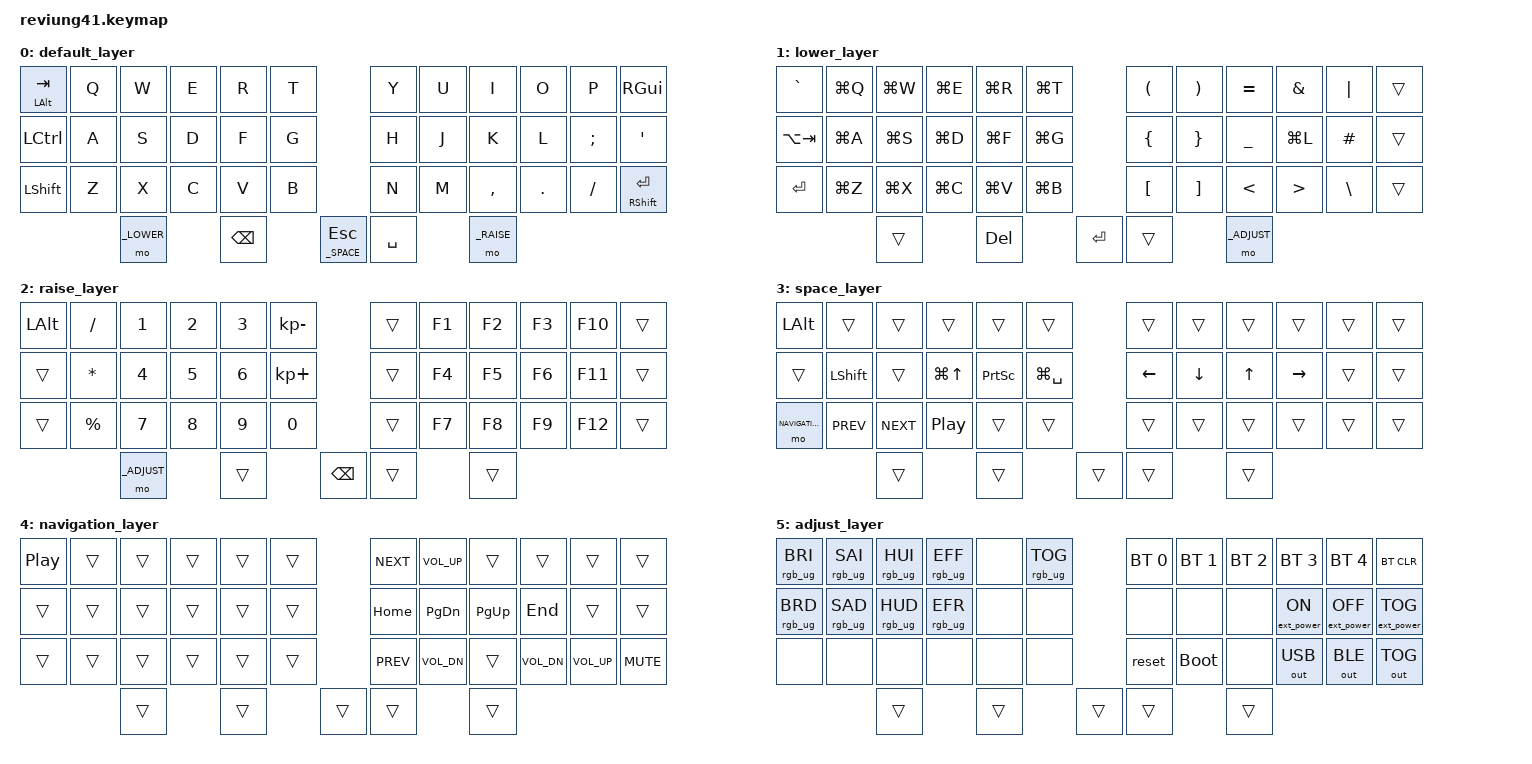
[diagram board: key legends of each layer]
// !!!!!!   Turkish Q Layout  !!!!!!

#include <behaviors.dtsi>
#include <dt-bindings/zmk/keys.h>
#include <dt-bindings/zmk/bt.h>
#include <dt-bindings/zmk/rgb.h>
#include <dt-bindings/zmk/outputs.h>
#include <dt-bindings/zmk/ext_power.h>
#include <dt-bindings/led/led.h>


// Layers
#define _QWERTY      0
#define _LOWER       1
#define _RAISE       2
#define _SPACE       3
#define _NAVIGATION  4
#define _ADJUST      5



&spi1 {
	compatible = "nordic,nrf-spim";
	status = "okay";
	mosi-pin = <6>;
	// Unused pins, needed for SPI definition, but not used by the ws2812 driver itself.
	sck-pin = <5>;
	miso-pin = <7>;

	led_strip: ws2812@0 {
		compatible = "worldsemi,ws2812-spi";
		label = "WS2812";

		/* SPI */
		reg = <0>; /* ignored, but necessary for SPI bindings */
		spi-max-frequency = <4000000>;

		/* WS2812 */
		chain-length = <11>; /* arbitrary; change at will */
		spi-one-frame = <0x70>;
		spi-zero-frame = <0x40>;
		color-mapping = <LED_COLOR_ID_GREEN LED_COLOR_ID_RED LED_COLOR_ID_BLUE>;
	};
};

/ {
        chosen {
                zmk,underglow = &led_strip;
        };
};

// &caps_word {
//     continue-list = <UNDERSCORE MINUS>;
// };

/ {
        keymap {
        compatible = "zmk,keymap";

        // QWERTY LAYER (DEFAUT)
        //       │  TAB │  Q   │  W   │  E   │  R   │  T   │            │  Y       │  U   │  I   │  O   │   P  │  GUI │
        //       ├──────┼──────┼──────┼──────┼──────┼──────┤            ├──────────┼──────┼──────┼──────┼──────┼──────┤
        //       │ CTRL │  A   │  S   │  D   │  F   │  G   │            │  H       │  J   │  K   │  L   │  ;   │  ' " │
        //       ├──────┼──────┼──────┼──────┼──────┼──────┤            ├──────────┼──────┼──────┼──────┼──────┼──────┤
        //       │LSHIFT│  Z   │  X   │  C   │  V   │  B   │            │  N       │  M   │  ,   │  .   │  /   │ ENT  │
        //       ├──────┼──────┼──────┼──────┼──────┼──────┤            ├──────────┼──────┼──────┼──────┼──────┼──────┤
        //                               |_Lower| BSPC | _SPACE(ESC)|   SPACE  |_Raise|
        //                               +-------------/            \--------------+
        default_layer {
        bindings = <
        &mt LALT TAB &kp Q    &kp W &kp E &kp R &kp T             &kp Y &kp U  &kp I     &kp O   &kp P    &kp RIGHT_GUI
        &kp LCTRL    &kp A    &kp S &kp D &kp F &kp G             &kp H &kp J  &kp K     &kp L   &kp SEMI &kp SQT
        &kp LSHFT    &kp Z    &kp X &kp C &kp V &kp B             &kp N &kp M  &kp COMMA &kp DOT &kp FSLH &mt RSHFT ENTER
                                &mo _LOWER  &kp BSPC &lt _SPACE ESC  &kp SPACE  &mo _RAISE
                >;
        };
        // LOWER LAYER
        // ,-----------------------------------------------+         +------------------------------------------.
        // | GRAVE | CMD+Z | CMD+W | CMD+E | CMD+R | CMD+T |         |  (   |   )  |   =  |   &  |   |  |       |
        // |-------+-------+-------+-------+-------+-------+         +------+------+------+------+------+-------|
        // |ALT+TAB| CMD+A | CMD+S | CMD+D | CMD+F | CMD+G |         |  {   |   }  |   _  |   $  |   #  |       |
        // |-------+-------+-------+-------+-------+-------+         +------+------+------+------+------+-------|
        // | ENTER | CMD+Z | CMD+X | CMD+C | CMD+V | CMD+B |         |  [   |   ]  |   <  |   >  |   \  |       |
        // |-------+-------+-------+-------+-------+-------+         +------+------+------+------+------+-------|
        //                                   | ____ |  DEL |      ENTER     | ____  |_ADJUST|
        //                                   +-------------/                \--------------+
        lower_layer {
        bindings = <
        &kp GRAVE   &kp LG(Q) &kp LG(W) &kp LG(E) &kp LG(R) &kp LG(T)             &kp LPAR    &kp RPAR   &kp EQUAL  &kp AMPS &kp PIPE &trans
        &kp LA(TAB) &kp LG(A) &kp LG(S) &kp LG(D) &kp LG(F) &kp LG(G)             &kp LBRC    &kp RBRC   &kp UNDER  &kp LG(L) &kp HASH &trans
        &kp ENTER   &kp LG(Z) &kp LG(X) &kp LG(C) &kp LG(V) &kp LG(B)             &kp LBKT    &kp RBKT   &kp LT     &kp GT   &kp BSLH &trans
                                        &trans      &kp DEL       &kp RET      &trans    &mo _ADJUST
                >;
        };

        // RAISE LAYER
        // ,-----------------------------------------------+         +------------------------------------------.
        // |  LALT |   /  |   1   |    2   |   3   |   -   |         |      |  F1  |  F2  |  F3  |  F10 |       |
        // |-------+------+-------+--------+-------+-------+         +------+------+------+------+------+-------|
        // |       |   *  |   4   |    5   |   6   |   +   |         |      |  F4  |  F5  |  F6  |  F11 |       |
        // |-------+------+-------+--------+-------+-------+         +------+------+------+------+------+-------|
        // |       |   %  |   7   |    8   |   9   |   0   |         |      |  F7  |  F8  |  F9  |  F12 |       |
        // |-------+------+-------+--------+-------+-------+         +------+------+------+------+------+-------|
        //                                 |_ADJUST| _____ |   BSPC  | ____ | ____ |
        //                                +-------------/              \--------------+
        raise_layer {
        bindings = <
        &kp LALT     &kp FSLH    &kp N1  &kp N2  &kp N3  &kp KP_MINUS       &trans  &kp F1  &kp F2   &kp F3  &kp F10   &trans
        &trans       &kp ASTRK   &kp N4  &kp N5  &kp N6  &kp KP_PLUS        &trans  &kp F4  &kp F5   &kp F6  &kp F11   &trans
        &trans       &kp PRCNT   &kp N7  &kp N8  &kp N9  &kp N0             &trans  &kp F7  &kp F8   &kp F9  &kp F12   &trans
                        &mo _ADJUST  &trans       &kp BSPC        &trans      &trans
                >;
        };

        // SPACE LAYER
        // ,------------------------------------------------- -+         +------------------------------------------.
        // |   ESC  |        |       |        |       |        |         |      |      |      |      |      |       |
        // |--------+--------+-------+--------+-------+--------+         +------+------+------+------+------+-------|
        // |        | LSHIFT |       |LGUI+UP | PSCRN |LGUI+SPC|         | LEFT | DOWN |  UP  | RIGHT|      |       |
        // |--------+--------+-------+--------+-------+--------+         +------+------+------+------+------+-------|
        // |  _NAVI | C_NEXT | C_PREV|PLY/PAUS|       |        |         |      |      |      |      |      |       |
        // |--------+--------+-------+--------+-------+--------+         +------+------+------+------+------+-------|
        //                                     | ____ | ____ |     _______      | ____  | ____ |
        //                                     +-------------/                \--------------+

        space_layer {
        bindings = <
        &kp LALT         &trans     &trans     &trans           &trans    &trans               &trans   &trans   &trans  &trans    &trans &trans
        &trans           &kp LSHFT  &trans     &kp LG(UP)       &kp PSCRN &kp LG(SPACE)        &kp LEFT &kp DOWN &kp UP  &kp RIGHT &trans &trans
        &mo _NAVIGATION  &kp C_PREV &kp C_NEXT &kp C_PLAY_PAUSE &trans    &trans               &trans   &trans   &trans  &trans    &trans &trans
                                                                &trans  &trans    &trans    &trans     &trans
                >;
        };

        // NAVIGATION LAYER
        // ,-----------------------------------------------+         +------------------------------------------.
        // | MPLY  |       |       |       |       |       |         |C_NEXT| VLUP |      |      |      |       |
        // |-------+-------+-------+-------+-------+-------+         +------+------+------+------+------+-------|
        // |       |       |       |       |NAVI_T |       |         | HOME |PGDOWN| PGUP | END  |      |       |
        // |-------+-------+-------+-------+-------+-------+         +------+------+------+------+------+-------|
        // |       |       |       |       |       |       |         |C_PREV|VLDOWN|      |      |      |       |
        // |-------+-------+-------+-------+-------+-------+         +------+------+------+------+------+-------|
        //                               | ____ | ____ |                | ____  | ____ |
        //                               +-------------/                \--------------+

        navigation_layer {
        bindings = <
        &kp C_PLAY_PAUSE &trans  &trans  &trans  &trans  &trans            &kp C_NEXT  &kp C_VOL_UP  &trans     &trans        &trans        &trans
        &trans           &trans  &trans  &trans  &trans  &trans            &kp HOME    &kp PG_DN     &kp PG_UP  &kp END       &trans        &trans
        &trans           &trans  &trans  &trans  &trans  &trans            &kp C_PREV  &kp C_VOL_DN  &trans     &kp C_VOL_DN  &kp C_VOL_UP  &kp C_MUTE
                                &trans  &trans    &trans    &trans     &trans
                >;
        };

        // ADJUST LAYER
        // ,-------------------------------------------------------- -+         +-----------------------------------------.
        // | RGB BRI+ | RGB SAT+ | RGB HUE+ | RGB ANI+ |    | RGB TOG |         |  BT1  | BT2 | BT3 | BT4 | BT5  | BT CLR |
        // |----------+----------+----------+----------+----+---------+         +--- ---+-----+-----+-----+------+-- -----|
        // | RGB BRI- | RGB SAT- | RGB HUE- | RGB ANI- |    |         |         |       |     |     |EP_ON|EP_OFF| EP_TOG |
        // |----------+----------+----------+----------+----+---------+         +-------+-----+-----+-----+------+--------|
        // |          |          |          |          |    |         |         | RESET |BOOTL|     |O_USB|O_BLE |OUT_TOG |
        // |----------+----------+---------+-----------+----+---------+         +-------+-----+-----+-----+------+--------|
        //                                          | ____ | ____ |     _______      | ____  | ____ |
        //                                           +-------------/                \--------------+

        adjust_layer {
        bindings = <
        &rgb_ug RGB_BRI &rgb_ug RGB_SAI &rgb_ug RGB_HUI &rgb_ug RGB_EFF &none &rgb_ug RGB_TOG              &bt BT_SEL 0 &bt BT_SEL 1  &bt BT_SEL 2 &bt BT_SEL 3       &bt BT_SEL 4        &bt BT_CLR
        &rgb_ug RGB_BRD &rgb_ug RGB_SAD &rgb_ug RGB_HUD &rgb_ug RGB_EFR &none &none                        &none        &none         &none        &ext_power EP_ON   &ext_power EP_OFF   &ext_power EP_TOG
        &none           &none           &none           &none           &none &none                        &reset       &bootloader   &none        &out OUT_USB       &out OUT_BLE        &out OUT_TOG
                                                                        &trans      &trans       &trans        &trans      &trans
                        >;
                };
        };
};

